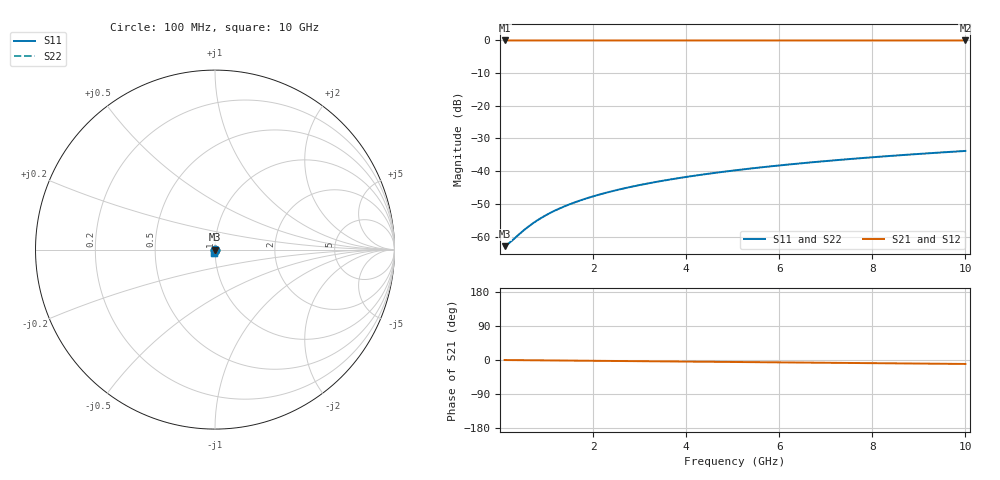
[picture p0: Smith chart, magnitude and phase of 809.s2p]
# Hz S RI R 50.00
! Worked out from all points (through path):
!   100 points, 100 MHz to 10 GHz, reference 50 ohm
!   highest |S21| = -0.01 dB at 100 MHz (marker M1); lowest = 0.0 dB at 10 GHz (marker M2)
!   group delay of S21, straight-line fit = 2.9 ps
!   lowest |S11| = -62.9 dB at 100 MHz (marker M3), VSWR 1.00, Z = 50.1 - j0.0204 ohm
!   |S11| at or under -10 dB: start of sweep to end of sweep
!   |S22| runs from -62.9 to -33.8 dB; largest |S21 - S12| = 0
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1e8  0.000683 -0.000204  0.9993 -0.00181  0.9993 -0.00181  0.000683 -0.000204
2e8  0.000686 -0.000408  0.9993 -0.00362  0.9993 -0.00362  0.000686 -0.000408
5e8  0.000684 -0.00102  0.9993 -0.00906  0.9993 -0.00906  0.000684 -0.00102
6e8  0.000681 -0.00122  0.9992 -0.0109  0.9992 -0.0109  0.000681 -0.00122
7e8  0.000677 -0.00143  0.9992 -0.0127  0.9992 -0.0127  0.000677 -0.00143
9e8  0.000667 -0.00184  0.9992 -0.0163  0.9992 -0.0163  0.000667 -0.00184
1.1e9  0.000653 -0.00224  0.9991 -0.0199  0.9991 -0.0199  0.000653 -0.00224
1.3e9  0.000636 -0.00265  0.999 -0.0236  0.999 -0.0236  0.000636 -0.00265
1.5e9  0.000616 -0.00306  0.9989 -0.0272  0.9989 -0.0272  0.000616 -0.00306
1.8e9  0.00058 -0.00367  0.9987 -0.0326  0.9987 -0.0326  0.00058 -0.00367
2.1e9  0.000537 -0.00428  0.9985 -0.0381  0.9985 -0.0381  0.000537 -0.00428
2.5e9  0.000469 -0.0051  0.9982 -0.0453  0.9982 -0.0453  0.000469 -0.0051
2.9e9  0.00039 -0.00592  0.9978 -0.0526  0.9978 -0.0526  0.00039 -0.00592
3.4e9  0.000273 -0.00694  0.9973 -0.0616  0.9973 -0.0616  0.000273 -0.00694
3.8e9  0.000166 -0.00775  0.9968 -0.0689  0.9968 -0.0689  0.000166 -0.00775
4.2e9  4.67e-05 -0.00857  0.9963 -0.0761  0.9963 -0.0761  4.67e-05 -0.00857
5.1e9  -0.000265 -0.0104  0.9949 -0.0924  0.9949 -0.0924  -0.000265 -0.0104
5.9e9  -0.000592 -0.012  0.9934 -0.1069  0.9934 -0.1069  -0.000592 -0.012
6.7e9  -0.000968 -0.0136  0.9917 -0.1214  0.9917 -0.1214  -0.000968 -0.0136
7.5e9  -0.00139 -0.0152  0.9898 -0.1358  0.9898 -0.1358  -0.00139 -0.0152
8.4e9  -0.00192 -0.017  0.9873 -0.1521  0.9873 -0.1521  -0.00192 -0.017
1e10  -0.00301 -0.0202  0.9824 -0.1809  0.9824 -0.1809  -0.00301 -0.0202
